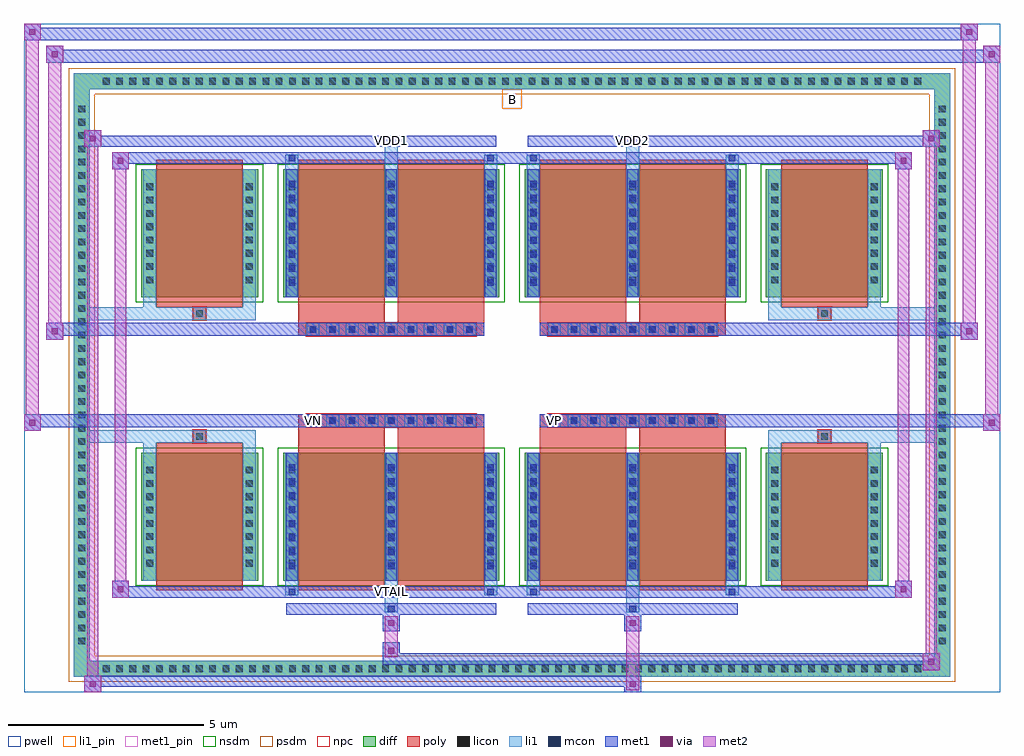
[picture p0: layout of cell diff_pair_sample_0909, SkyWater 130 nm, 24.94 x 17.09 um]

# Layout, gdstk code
import gdstk
lib = gdstk.Library(unit=1e-6, precision=5e-09)
def R(c, l, rs):  # rectangles x0, y0, x1, y1
    for r in rs: c.add(gdstk.rectangle(r[:2], r[2:], *l))
def A(c, l, x, y, w, h, nx, ny, dx, dy):  # array of equal rectangles
    R(c, l, [(x+i*dx, y+j*dy, x+i*dx+w, y+j*dy+h) for i in range(nx) for j in range(ny)])
def P(c, l, *ps):  # polygons
    for p in ps: c.add(gdstk.Polygon(p, *l))
pwell = (64, 44)
diff = (65, 20)
poly = (66, 20)
licon = (66, 44)
li1_pin = (67, 16)
li1 = (67, 20)
mcon = (67, 44)
met1_pin = (68, 16)
met1 = (68, 20)
via = (68, 44)
met2 = (69, 20)
nsdm = (93, 44)
psdm = (94, 20)
npc = (95, 20)

diff_pair_sample_0909 = lib.new_cell('diff_pair_sample_0909')
R(diff_pair_sample_0909, pwell, [(-12.47,-8.11,12.47,8.98), (-9.79,-6.3,-0.01,-0.8), (0.01,-6.3,9.79,-0.8), (-9.79,0.8,-0.01,6.3), (0.01,0.8,9.79,6.3)])
A(diff_pair_sample_0909, diff, -10.575, -7.71, 0.41, 0.41, 62, 2, 0.34, 15.01)
A(diff_pair_sample_0909, diff, -11.2, -7.005, 0.41, 0.41, 1, 41, 0, 0.34)
A(diff_pair_sample_0909, diff, 10.79, -7.005, 0.41, 0.41, 1, 41, 0, 0.34)
R(diff_pair_sample_0909, diff, [(-10.575,-7.71,10.575,-7.3), (-11.2,-7.005,-10.79,7.005), (10.79,-7.005,11.2,7.005), (-9.48,-5.255,-6.49,-1.985), (-5.85,-5.255,-0.32,-1.985), (0.32,-5.255,5.85,-1.985), (6.49,-5.255,9.48,-1.985), (-9.48,1.985,-6.49,5.255), (-5.85,1.985,-0.32,5.255), (0.32,1.985,5.85,5.255), (6.49,1.985,9.48,5.255), (-10.575,7.3,10.575,7.71)])
P(diff_pair_sample_0909, diff, [(11.2,7.71),(-11.2,7.71),(-11.2,-7.3),(-10.79,-7.3),(-10.79,7.3),(10.79,7.3),(10.79,-7.3),(-10.79,-7.3),(-11.2,-7.3),(-11.2,-7.71),(11.2,-7.71)])
A(diff_pair_sample_0909, poly, -5.25, -1.33, 0.33, 0.33, 9, 2, 0.5, 2.33)
A(diff_pair_sample_0909, poly, 0.92, -1.33, 0.33, 0.33, 9, 2, 0.5, 2.33)
R(diff_pair_sample_0909, poly, [(-9.09,-5.505,-6.88,-1.735), (-5.46,-5.505,-3.25,-1.735), (-2.92,-5.505,-0.71,-1.735), (0.71,-5.505,2.92,-1.735), (3.25,-5.505,5.46,-1.735), (6.88,-5.505,9.09,-1.735), (-8.15,-1.735,-7.82,-1.405), (-8.15,-1.735,-7.82,-1.405), (-5.46,-1.735,-3.25,-1.33), (-2.92,-1.735,-0.71,-1.33), (0.71,-1.735,2.92,-1.33), (3.25,-1.735,5.46,-1.33), (7.82,-1.735,8.15,-1.405), (7.82,-1.735,8.15,-1.405), (-5.46,-1.33,-0.71,-1), (0.71,-1.33,5.46,-1), (-5.46,1,-0.71,1.33), (0.71,1,5.46,1.33), (-5.46,1.33,-3.25,1.735), (-2.92,1.33,-0.71,1.735), (0.71,1.33,2.92,1.735), (3.25,1.33,5.46,1.735), (-8.15,1.405,-7.82,1.735), (-8.15,1.405,-7.82,1.735), (7.82,1.405,8.15,1.735), (7.82,1.405,8.15,1.735), (-9.09,1.735,-6.88,5.505), (-5.46,1.735,-3.25,5.505), (-2.92,1.735,-0.71,5.505), (0.71,1.735,2.92,5.505), (3.25,1.735,5.46,5.505), (6.88,1.735,9.09,5.505)])
A(diff_pair_sample_0909, licon, -10.455, -7.59, 0.17, 0.17, 62, 2, 0.34, 15.01)
A(diff_pair_sample_0909, licon, -11.08, -6.885, 0.17, 0.17, 1, 41, 0, 0.34)
A(diff_pair_sample_0909, licon, 10.91, -6.885, 0.17, 0.17, 1, 41, 0, 0.34)
A(diff_pair_sample_0909, licon, -9.34, -4.895, 0.17, 0.17, 1, 8, 0, 0.34)
A(diff_pair_sample_0909, licon, -6.8, -4.895, 0.17, 0.17, 1, 8, 0, 0.34)
A(diff_pair_sample_0909, licon, -5.71, -4.895, 0.17, 0.17, 3, 8, 2.54, 0.34)
A(diff_pair_sample_0909, licon, 0.46, -4.895, 0.17, 0.17, 3, 8, 2.54, 0.34)
A(diff_pair_sample_0909, licon, 6.63, -4.895, 0.17, 0.17, 1, 8, 0, 0.34)
A(diff_pair_sample_0909, licon, 9.17, -4.895, 0.17, 0.17, 1, 8, 0, 0.34)
A(diff_pair_sample_0909, licon, -5.17, -1.25, 0.17, 0.17, 9, 2, 0.5, 2.33)
A(diff_pair_sample_0909, licon, 1, -1.25, 0.17, 0.17, 9, 2, 0.5, 2.33)
A(diff_pair_sample_0909, licon, -9.34, 2.345, 0.17, 0.17, 1, 8, 0, 0.34)
A(diff_pair_sample_0909, licon, -6.8, 2.345, 0.17, 0.17, 1, 8, 0, 0.34)
A(diff_pair_sample_0909, licon, -5.71, 2.345, 0.17, 0.17, 3, 8, 2.54, 0.34)
A(diff_pair_sample_0909, licon, 0.46, 2.345, 0.17, 0.17, 3, 8, 2.54, 0.34)
A(diff_pair_sample_0909, licon, 6.63, 2.345, 0.17, 0.17, 1, 8, 0, 0.34)
A(diff_pair_sample_0909, licon, 9.17, 2.345, 0.17, 0.17, 1, 8, 0, 0.34)
R(diff_pair_sample_0909, licon, [(-8.07,-1.655,-7.9,-1.485), (7.9,-1.655,8.07,-1.485), (-8.07,1.485,-7.9,1.655), (7.9,1.485,8.07,1.655)])
R(diff_pair_sample_0909, li1_pin, [(-0.25,6.8,0.25,7.3)])
A(diff_pair_sample_0909, li1, -10.535, -7.67, 0.33, 0.33, 62, 2, 0.34, 15.01)
A(diff_pair_sample_0909, li1, -11.16, -6.965, 0.33, 0.33, 1, 41, 0, 0.34)
A(diff_pair_sample_0909, li1, 10.83, -6.965, 0.33, 0.33, 1, 41, 0, 0.34)
A(diff_pair_sample_0909, li1, -5.79, -5.255, 0.33, 3.27, 3, 2, 2.54, 7.24)
A(diff_pair_sample_0909, li1, 0.38, -5.255, 0.33, 3.27, 3, 2, 2.54, 7.24)
A(diff_pair_sample_0909, li1, -9.42, -4.975, 0.33, 0.33, 1, 8, 0, 0.34)
A(diff_pair_sample_0909, li1, -6.88, -4.975, 0.33, 0.33, 1, 8, 0, 0.34)
A(diff_pair_sample_0909, li1, -5.79, -4.975, 0.33, 0.33, 3, 8, 2.54, 0.34)
A(diff_pair_sample_0909, li1, 0.38, -4.975, 0.33, 0.33, 3, 8, 2.54, 0.34)
A(diff_pair_sample_0909, li1, 6.55, -4.975, 0.33, 0.33, 1, 8, 0, 0.34)
A(diff_pair_sample_0909, li1, 9.09, -4.975, 0.33, 0.33, 1, 8, 0, 0.34)
A(diff_pair_sample_0909, li1, -5.71, -4.965, 0.17, 0.17, 3, 8, 2.54, 0.36)
A(diff_pair_sample_0909, li1, -5.71, -4.965, 0.17, 2.69, 3, 2, 2.54, 7.24)
A(diff_pair_sample_0909, li1, 0.46, -4.965, 0.17, 0.17, 3, 8, 2.54, 0.36)
A(diff_pair_sample_0909, li1, 0.46, -4.965, 0.17, 2.69, 3, 2, 2.54, 7.24)
A(diff_pair_sample_0909, li1, -5.25, -1.33, 0.33, 0.33, 9, 2, 0.5, 2.33)
A(diff_pair_sample_0909, li1, 0.92, -1.33, 0.33, 0.33, 9, 2, 0.5, 2.33)
A(diff_pair_sample_0909, li1, -9.42, 2.265, 0.33, 0.33, 1, 8, 0, 0.34)
A(diff_pair_sample_0909, li1, -6.88, 2.265, 0.33, 0.33, 1, 8, 0, 0.34)
A(diff_pair_sample_0909, li1, -5.79, 2.265, 0.33, 0.33, 3, 8, 2.54, 0.34)
A(diff_pair_sample_0909, li1, 0.38, 2.265, 0.33, 0.33, 3, 8, 2.54, 0.34)
A(diff_pair_sample_0909, li1, 6.55, 2.265, 0.33, 0.33, 1, 8, 0, 0.34)
A(diff_pair_sample_0909, li1, 9.09, 2.265, 0.33, 0.33, 1, 8, 0, 0.34)
A(diff_pair_sample_0909, li1, -5.71, 2.275, 0.17, 0.17, 3, 8, 2.54, 0.36)
A(diff_pair_sample_0909, li1, 0.46, 2.275, 0.17, 0.17, 3, 8, 2.54, 0.36)
R(diff_pair_sample_0909, li1, [(-11.2,-7.71,-10.79,-7.3), (-11.2,-7.71,-10.79,-7.3), (-10.79,-7.71,10.79,-7.3), (10.79,-7.71,11.2,-7.3), (10.79,-7.71,11.2,-7.3), (-11.2,-7.3,-10.79,7.3), (10.79,-7.3,11.2,7.3), (-3.25,-6.06,-2.92,-5.255), (-3.17,-6.06,-3,-5.89), (2.92,-6.06,3.25,-5.255), (3,-6.06,3.17,-5.89), (-5.79,-5.63,-5.46,-5.255), (-5.71,-5.63,-5.54,-5.46), (-0.71,-5.63,-0.38,-5.255), (-0.63,-5.63,-0.46,-5.46), (0.38,-5.63,0.71,-5.255), (0.46,-5.63,0.63,-5.46), (5.46,-5.63,5.79,-5.255), (5.54,-5.63,5.71,-5.46), (-9.42,-5.255,-9.09,-1.985), (-6.88,-5.255,-6.55,-1.985), (6.55,-5.255,6.88,-1.985), (9.09,-5.255,9.42,-1.985), (-9.42,-1.985,-9.09,-1.405), (-6.88,-1.985,-6.55,-1.405), (6.55,-1.985,6.88,-1.405), (9.09,-1.985,9.42,-1.405), (-11.2,-1.735,-8.15,-1.405), (-9.42,-1.735,-8.15,-1.405), (-8.15,-1.735,-7.82,-1.405), (-7.82,-1.735,-6.55,-1.405), (6.55,-1.735,7.82,-1.405), (7.82,-1.735,8.15,-1.405), (7.82,-1.735,11.2,-1.405), (8.15,-1.735,9.42,-1.405), (-11.2,1.405,-8.15,1.735), (-9.42,1.405,-8.15,1.735), (-9.42,1.405,-9.09,1.985), (-8.15,1.405,-7.82,1.735), (-7.82,1.405,-6.55,1.735), (-6.88,1.405,-6.55,1.985), (6.55,1.405,7.82,1.735), (6.55,1.405,6.88,1.985), (7.82,1.405,8.15,1.735), (7.82,1.405,11.2,1.735), (8.15,1.405,9.42,1.735), (9.09,1.405,9.42,1.985), (-9.42,1.985,-9.09,5.255), (-6.88,1.985,-6.55,5.255), (6.55,1.985,6.88,5.255), (9.09,1.985,9.42,5.255), (-5.79,5.255,-5.46,5.63), (-3.25,5.255,-2.92,6.06), (-0.71,5.255,-0.38,5.63), (0.38,5.255,0.71,5.63), (2.92,5.255,3.25,6.06), (5.46,5.255,5.79,5.63), (-5.71,5.46,-5.54,5.63), (-0.63,5.46,-0.46,5.63), (0.46,5.46,0.63,5.63), (5.54,5.46,5.71,5.63), (-3.17,5.89,-3,6.06), (3,5.89,3.17,6.06), (-11.2,7.3,-10.79,7.71), (-11.2,7.3,-10.79,7.71), (-10.79,7.3,10.79,7.71), (10.79,7.3,11.2,7.71), (10.79,7.3,11.2,7.71)])
A(diff_pair_sample_0909, mcon, -5.71, -4.965, 0.17, 0.17, 3, 8, 2.54, 0.36)
A(diff_pair_sample_0909, mcon, 0.46, -4.965, 0.17, 0.17, 3, 8, 2.54, 0.36)
A(diff_pair_sample_0909, mcon, -5.17, -1.25, 0.17, 0.17, 9, 2, 0.5, 2.33)
A(diff_pair_sample_0909, mcon, 1, -1.25, 0.17, 0.17, 9, 2, 0.5, 2.33)
A(diff_pair_sample_0909, mcon, -5.71, 2.275, 0.17, 0.17, 3, 8, 2.54, 0.36)
A(diff_pair_sample_0909, mcon, 0.46, 2.275, 0.17, 0.17, 3, 8, 2.54, 0.36)
R(diff_pair_sample_0909, mcon, [(-3.17,-6.06,-3,-5.89), (3,-6.06,3.17,-5.89), (-5.71,-5.63,-5.54,-5.46), (-0.63,-5.63,-0.46,-5.46), (0.46,-5.63,0.63,-5.46), (5.54,-5.63,5.71,-5.46), (-5.71,5.46,-5.54,5.63), (-0.63,5.46,-0.46,5.63), (0.46,5.46,0.63,5.63), (5.54,5.46,5.71,5.63), (-3.17,5.89,-3,6.06), (3,5.89,3.17,6.06)])
R(diff_pair_sample_0909, met1_pin, [(-3.22,-5.67,-2.95,-5.4), (-5.22,-1.29,-4.95,-1.02), (0.95,-1.29,1.22,-1.02), (-3.22,5.85,-2.95,6.12), (2.95,5.85,3.22,6.12)])
A(diff_pair_sample_0909, met1, -5.77, -5.255, 0.29, 3.27, 3, 2, 2.54, 7.24)
A(diff_pair_sample_0909, met1, 0.4, -5.255, 0.29, 3.27, 3, 2, 2.54, 7.24)
A(diff_pair_sample_0909, met1, -5.77, -5.025, 0.29, 0.29, 3, 8, 2.54, 0.36)
A(diff_pair_sample_0909, met1, 0.4, -5.025, 0.29, 0.29, 3, 8, 2.54, 0.36)
A(diff_pair_sample_0909, met1, -5.23, -1.31, 0.29, 0.29, 9, 2, 0.5, 2.33)
A(diff_pair_sample_0909, met1, 0.94, -1.31, 0.29, 0.29, 9, 2, 0.5, 2.33)
A(diff_pair_sample_0909, met1, -5.77, 2.215, 0.29, 0.29, 3, 8, 2.54, 0.36)
A(diff_pair_sample_0909, met1, 0.4, 2.215, 0.29, 0.29, 3, 8, 2.54, 0.36)
R(diff_pair_sample_0909, met1, [(-10.93,-8.11,-10.5,-7.68), (2.87,-8.11,3.3,-7.68), (-10.93,-7.97,3.3,-7.68), (10.5,-7.54,10.93,-7.11), (-3.3,-7.4,10.93,-7.11), (-3.3,-7.26,-2.87,-6.83), (-3.3,-6.55,-2.87,-6.12), (2.87,-6.55,3.3,-6.12), (-5.77,-6.12,-0.4,-5.83), (-3.23,-6.12,-2.94,-5.83), (0.4,-6.12,5.77,-5.83), (2.94,-6.12,3.23,-5.83), (-10.22,-5.69,-9.79,-5.26), (-10.22,-5.69,-5.77,-5.4), (-5.77,-5.69,-5.48,-5.4), (-5.77,-5.69,-0.4,-5.4), (-0.69,-5.69,-0.4,-5.4), (-0.4,-5.69,0.4,-5.4), (0.4,-5.69,0.69,-5.4), (0.4,-5.69,5.77,-5.4), (5.48,-5.69,5.77,-5.4), (5.77,-5.69,10.22,-5.4), (9.79,-5.69,10.22,-5.26), (-12.47,-1.43,-12.04,-1), (12.04,-1.43,12.47,-1), (-12.47,-1.33,-0.71,-1), (-5.46,-1.33,-0.71,-1), (0.71,-1.33,5.46,-1), (0.71,-1.33,12.47,-1), (-11.9,0.9,-11.47,1.33), (11.47,0.9,11.9,1.33), (-11.9,1,-5.46,1.33), (-5.46,1,-0.71,1.33), (0.71,1,5.46,1.33), (5.46,1,11.9,1.33), (-10.22,5.26,-9.79,5.69), (9.79,5.26,10.22,5.69), (-10.22,5.4,-5.77,5.69), (-5.77,5.4,-5.48,5.69), (-5.77,5.4,-0.4,5.69), (-0.69,5.4,-0.4,5.69), (-0.4,5.4,0.4,5.69), (0.4,5.4,0.69,5.69), (0.4,5.4,5.77,5.69), (5.48,5.4,5.77,5.69), (5.77,5.4,10.22,5.69), (-10.93,5.83,-10.5,6.26), (-10.93,5.83,-5.77,6.12), (-5.77,5.83,-0.4,6.12), (-3.23,5.83,-2.94,6.12), (0.4,5.83,5.77,6.12), (2.94,5.83,3.23,6.12), (5.77,5.83,10.93,6.12), (10.5,5.83,10.93,6.26), (-11.9,7.98,-11.47,8.41), (-11.9,7.98,-9.79,8.31), (-9.79,7.98,9.79,8.31), (9.79,7.98,12.47,8.31), (12.04,7.98,12.47,8.41), (-12.47,8.55,-12.04,8.98), (-12.47,8.55,-9.79,8.88), (-9.79,8.55,9.79,8.88), (9.79,8.55,11.9,8.88), (11.47,8.55,11.9,8.98)])
R(diff_pair_sample_0909, via, [(-10.79,-7.97,-10.64,-7.82), (3.01,-7.97,3.16,-7.82), (10.64,-7.4,10.79,-7.25), (-3.16,-7.12,-3.01,-6.97), (-3.16,-6.41,-3.01,-6.26), (3.01,-6.41,3.16,-6.26), (-10.08,-5.55,-9.93,-5.4), (9.93,-5.55,10.08,-5.4), (-12.33,-1.29,-12.18,-1.14), (12.18,-1.29,12.33,-1.14), (-11.76,1.04,-11.61,1.19), (11.61,1.04,11.76,1.19), (-10.08,5.4,-9.93,5.55), (9.93,5.4,10.08,5.55), (-10.79,5.97,-10.64,6.12), (10.64,5.97,10.79,6.12), (-11.76,8.12,-11.61,8.27), (12.18,8.12,12.33,8.27), (-12.33,8.69,-12.18,8.84), (11.61,8.69,11.76,8.84)])
R(diff_pair_sample_0909, met2, [(-10.93,-8.11,-10.5,-7.68), (-10.86,-8.11,-10.57,6.26), (-10.57,-8.11,-10.5,-7.68), (-10.88,-8.06,-10.55,-7.73), (2.92,-8.06,3.25,-7.73), (2.92,-7.73,3.25,-6.5), (10.5,-7.54,10.93,-7.11), (10.57,-7.54,10.86,6.26), (10.86,-7.54,10.93,-7.11), (10.55,-7.49,10.88,-7.16), (-3.25,-7.21,-2.92,-6.88), (-3.25,-6.88,-2.92,-6.5), (-3.25,-6.5,-2.92,-6.17), (2.92,-6.5,3.25,-6.17), (-10.22,-5.69,-9.79,-5.26), (-10.15,-5.69,-9.86,5.69), (-9.86,-5.69,-9.79,-5.26), (9.79,-5.69,10.22,-5.26), (9.86,-5.69,10.15,5.69), (10.15,-5.69,10.22,-5.26), (-10.17,-5.64,-9.84,-5.31), (9.84,-5.64,10.17,-5.31), (-12.47,-1.43,-12.04,-1), (-12.42,-1.43,-12.09,8.98), (-12.09,-1.43,-12.04,-1), (12.04,-1.43,12.47,-1), (12.09,-1.43,12.42,8.41), (12.42,-1.43,12.47,-1), (-12.42,-1.38,-12.09,-1.05), (12.09,-1.38,12.42,-1.05), (-11.9,0.9,-11.47,1.33), (-11.85,0.9,-11.52,8.41), (-11.52,0.9,-11.47,1.33), (11.47,0.9,11.9,1.33), (11.52,0.9,11.85,8.98), (11.85,0.9,11.9,1.33), (-11.85,0.95,-11.52,1.28), (11.52,0.95,11.85,1.28), (-10.22,5.26,-9.79,5.69), (-9.86,5.26,-9.79,5.69), (9.79,5.26,10.22,5.69), (10.15,5.26,10.22,5.69), (-10.17,5.31,-9.84,5.64), (9.84,5.31,10.17,5.64), (-10.93,5.83,-10.5,6.26), (-10.57,5.83,-10.5,6.26), (10.5,5.83,10.93,6.26), (10.86,5.83,10.93,6.26), (-10.88,5.88,-10.55,6.21), (10.55,5.88,10.88,6.21), (-11.9,7.98,-11.47,8.41), (-11.52,7.98,-11.47,8.41), (12.04,7.98,12.47,8.41), (12.42,7.98,12.47,8.41), (-11.85,8.03,-11.52,8.36), (12.09,8.03,12.42,8.36), (-12.47,8.55,-12.04,8.98), (-12.09,8.55,-12.04,8.98), (11.47,8.55,11.9,8.98), (11.85,8.55,11.9,8.98), (-12.42,8.6,-12.09,8.93), (11.52,8.6,11.85,8.93)])
R(diff_pair_sample_0909, nsdm, [(-9.61,-5.385,-6.36,-1.855), (-5.98,-5.385,-0.19,-1.855), (0.19,-5.385,5.98,-1.855), (6.36,-5.385,9.61,-1.855), (-9.61,1.855,-6.36,5.385), (-5.98,1.855,-0.19,5.385), (0.19,1.855,5.98,5.385), (6.36,1.855,9.61,5.385)])
P(diff_pair_sample_0909, psdm, [(11.33,7.84),(-11.33,7.84),(-11.33,-7.17),(-10.66,-7.17),(-10.66,7.17),(10.66,7.17),(10.66,-7.17),(-10.66,-7.17),(-11.33,-7.17),(-11.33,-7.84),(11.33,-7.84)])
A(diff_pair_sample_0909, npc, -5.27, -1.35, 0.37, 0.37, 9, 2, 0.5, 2.33)
A(diff_pair_sample_0909, npc, 0.9, -1.35, 0.37, 0.37, 9, 2, 0.5, 2.33)
R(diff_pair_sample_0909, npc, [(-8.17,-1.755,-7.8,-1.385), (7.8,-1.755,8.17,-1.385), (-5.27,-1.35,-4.4,-0.98), (-5.27,-1.35,-4.4,-0.98), (-4.77,-1.35,-3.9,-0.98), (-4.77,-1.35,-3.9,-0.98), (-4.27,-1.35,-3.4,-0.98), (-4.27,-1.35,-3.4,-0.98), (-3.77,-1.35,-2.9,-0.98), (-3.77,-1.35,-2.9,-0.98), (-3.27,-1.35,-2.4,-0.98), (-3.27,-1.35,-2.4,-0.98), (-2.77,-1.35,-1.9,-0.98), (-2.77,-1.35,-1.9,-0.98), (-2.27,-1.35,-1.4,-0.98), (-2.27,-1.35,-1.4,-0.98), (-1.77,-1.35,-0.9,-0.98), (-1.77,-1.35,-0.9,-0.98), (0.9,-1.35,1.77,-0.98), (0.9,-1.35,1.77,-0.98), (1.4,-1.35,2.27,-0.98), (1.4,-1.35,2.27,-0.98), (1.9,-1.35,2.77,-0.98), (1.9,-1.35,2.77,-0.98), (2.4,-1.35,3.27,-0.98), (2.4,-1.35,3.27,-0.98), (2.9,-1.35,3.77,-0.98), (2.9,-1.35,3.77,-0.98), (3.4,-1.35,4.27,-0.98), (3.4,-1.35,4.27,-0.98), (3.9,-1.35,4.77,-0.98), (3.9,-1.35,4.77,-0.98), (4.4,-1.35,5.27,-0.98), (4.4,-1.35,5.27,-0.98), (-5.27,0.98,-4.4,1.35), (-5.27,0.98,-4.4,1.35), (-4.77,0.98,-3.9,1.35), (-4.77,0.98,-3.9,1.35), (-4.27,0.98,-3.4,1.35), (-4.27,0.98,-3.4,1.35), (-3.77,0.98,-2.9,1.35), (-3.77,0.98,-2.9,1.35), (-3.27,0.98,-2.4,1.35), (-3.27,0.98,-2.4,1.35), (-2.77,0.98,-1.9,1.35), (-2.77,0.98,-1.9,1.35), (-2.27,0.98,-1.4,1.35), (-2.27,0.98,-1.4,1.35), (-1.77,0.98,-0.9,1.35), (-1.77,0.98,-0.9,1.35), (0.9,0.98,1.77,1.35), (0.9,0.98,1.77,1.35), (1.4,0.98,2.27,1.35), (1.4,0.98,2.27,1.35), (1.9,0.98,2.77,1.35), (1.9,0.98,2.77,1.35), (2.4,0.98,3.27,1.35), (2.4,0.98,3.27,1.35), (2.9,0.98,3.77,1.35), (2.9,0.98,3.77,1.35), (3.4,0.98,4.27,1.35), (3.4,0.98,4.27,1.35), (3.9,0.98,4.77,1.35), (3.9,0.98,4.77,1.35), (4.4,0.98,5.27,1.35), (4.4,0.98,5.27,1.35), (-8.17,1.385,-7.8,1.755), (7.8,1.385,8.17,1.755)])
diff_pair_sample_0909.add(gdstk.Label('VTAIL', (-3.085,-5.535), layer=68, texttype=5))
diff_pair_sample_0909.add(gdstk.Label('VN', (-5.085,-1.155), layer=68, texttype=5))
diff_pair_sample_0909.add(gdstk.Label('VP', (1.085,-1.155), layer=68, texttype=5))
diff_pair_sample_0909.add(gdstk.Label('B', (0,7.05), layer=67, texttype=5))
diff_pair_sample_0909.add(gdstk.Label('VDD2', (3.085,5.985), layer=68, texttype=5))
diff_pair_sample_0909.add(gdstk.Label('VDD1', (-3.085,5.985), layer=68, texttype=5))

lib.write_gds('diff_pair_sample_0909.gds')
